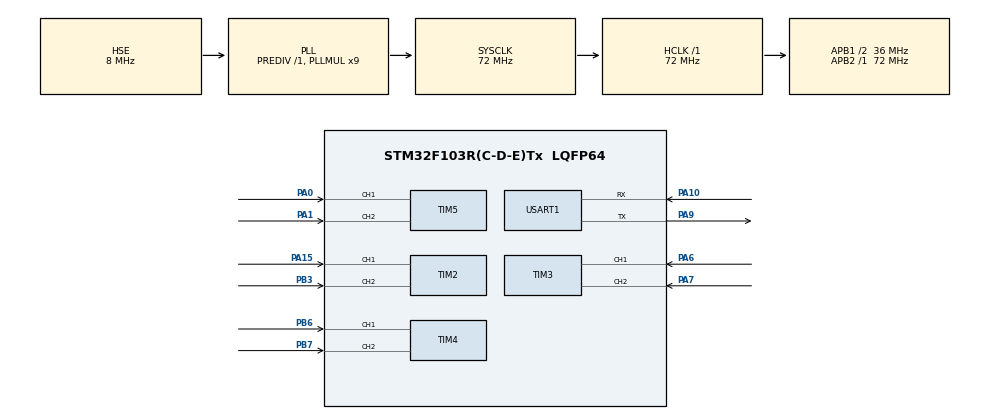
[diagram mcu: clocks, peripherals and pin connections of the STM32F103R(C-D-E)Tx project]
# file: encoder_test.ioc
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Mcu.Family=STM32F1
Mcu.Name=STM32F103R(C-D-E)Tx
Mcu.Package=LQFP64
NVIC.PriorityGroup=NVIC_PRIORITYGROUP_4
NVIC.TIM6_IRQn=true\:0\:0\:false\:false\:true\:true\:true\:true
NVIC.USART1_IRQn=true\:0\:0\:false\:false\:true\:true\:true\:true
PA0-WKUP.Signal=S_TIM5_CH1
PA1.Signal=S_TIM5_CH2
PA10.Mode=Asynchronous
PA10.Signal=USART1_RX
PA13.Mode=Serial_Wire
PA13.Signal=SYS_JTMS-SWDIO
PA14.Mode=Serial_Wire
PA14.Signal=SYS_JTCK-SWCLK
PA15.Signal=S_TIM2_CH1_ETR
PA6.Signal=S_TIM3_CH1
PA7.Signal=S_TIM3_CH2
PA9.Mode=Asynchronous
PA9.Signal=USART1_TX
PB3.Signal=S_TIM2_CH2
PB6.Signal=S_TIM4_CH1
PB7.Signal=S_TIM4_CH2
PD0-OSC_IN.Mode=HSE-External-Oscillator
PD0-OSC_IN.Signal=RCC_OSC_IN
PD1-OSC_OUT.Mode=HSE-External-Oscillator
PD1-OSC_OUT.Signal=RCC_OSC_OUT
ProjectManager.HeapSize=0x200
ProjectManager.StackSize=0x400
ProjectManager.TargetToolchain=STM32CubeIDE
RCC.AHBFreq_Value=72000000
RCC.APB1CLKDivider=RCC_HCLK_DIV2
RCC.APB1Freq_Value=36000000
RCC.APB1TimFreq_Value=72000000
RCC.APB2Freq_Value=72000000
RCC.APB2TimFreq_Value=72000000
RCC.HCLKFreq_Value=72000000
RCC.PLLMUL=RCC_PLL_MUL9
RCC.PLLSourceVirtual=RCC_PLLSOURCE_HSE
RCC.SYSCLKFreq_VALUE=72000000
RCC.SYSCLKSource=RCC_SYSCLKSOURCE_PLLCLK
RCC.USBFreq_Value=72000000
SH.S_TIM2_CH1_ETR.0=TIM2_CH1,Encoder_Interface
SH.S_TIM2_CH2.0=TIM2_CH2,Encoder_Interface
SH.S_TIM3_CH1.0=TIM3_CH1,Encoder_Interface
SH.S_TIM3_CH2.0=TIM3_CH2,Encoder_Interface
SH.S_TIM4_CH1.0=TIM4_CH1,Encoder_Interface
SH.S_TIM4_CH2.0=TIM4_CH2,Encoder_Interface
SH.S_TIM5_CH1.0=TIM5_CH1,Encoder_Interface
SH.S_TIM5_CH2.0=TIM5_CH2,Encoder_Interface
TIM2.EncoderMode=TIM_ENCODERMODE_TI12
TIM3.EncoderMode=TIM_ENCODERMODE_TI12
TIM4.EncoderMode=TIM_ENCODERMODE_TI12
TIM5.EncoderMode=TIM_ENCODERMODE_TI12
TIM6.Period=10000-1
TIM6.Prescaler=7200-1
USART1.VirtualMode=VM_ASYNC
VP_TIM6_VS_ClockSourceINT.Mode=Enable_Timer
board=custom

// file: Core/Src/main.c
/* USER CODE BEGIN Header */
/**
  ******************************************************************************
  * @file           : main.c
  * @brief          : Main program body
  ******************************************************************************
  * @attention
  *
  * Copyright (c) 2023 STMicroelectronics.
  * All rights reserved.
  *
  * This software is licensed under terms that can be found in the LICENSE file
  * in the root directory of this software component.
  * If no LICENSE file comes with this software, it is provided AS-IS.
  *
  ******************************************************************************
  */

/* USER CODE END Header */
#include "main.h"

/* USER CODE BEGIN Includes */
#include "stdint.h"
#include "stdio.h"
#include "motor_encoder.h"
/* USER CODE END Includes */

TIM_HandleTypeDef htim2;
TIM_HandleTypeDef htim3;
TIM_HandleTypeDef htim4;
TIM_HandleTypeDef htim5;
TIM_HandleTypeDef htim6;

UART_HandleTypeDef huart1;

/* USER CODE BEGIN PV */

encoder_instance enc_instance_A;
encoder_instance enc_instance_B;
encoder_instance enc_instance_C;
encoder_instance enc_instance_D;

/* USER CODE END PV */

void SystemClock_Config(void);
static void MX_GPIO_Init(void);
static void MX_TIM2_Init(void);
static void MX_TIM3_Init(void);
static void MX_TIM4_Init(void);
static void MX_TIM5_Init(void);
static void MX_TIM6_Init(void);
static void MX_USART1_UART_Init(void);

/* USER CODE BEGIN 0 */
//uint16_t counterA = 0;
//uint16_t counterB = 0;
//uint16_t counterC = 0;
//uint16_t counterD = 0;
//
//uint16_t directionA = 0;
//uint16_t directionB = 0;
//uint16_t directionC = 0;
//uint16_t directionD = 0;
//
//int16_t countA = 0;
//int16_t countB = 0;
//int16_t countC = 0;
//int16_t countD = 0;

int16_t encoder_velocity_A = 0;
int32_t encoder_position_A = 0;
int16_t encoder_velocity_B = 0;
int32_t encoder_position_B = 0;
int16_t encoder_velocity_C = 0;
int32_t encoder_position_C = 0;
int16_t encoder_velocity_D = 0;
int32_t encoder_position_D = 0;

void HAL_TIM_PeriodElapsedCallback(TIM_HandleTypeDef *htim)
{
	if (htim->Instance == TIM6)
	{
		update_encoder(&enc_instance_A, &htim2);
		update_encoder(&enc_instance_B, &htim3);
		update_encoder(&enc_instance_C, &htim4);
		update_encoder(&enc_instance_D, &htim5);
		encoder_position_A = enc_instance_A.position;
		encoder_velocity_A = enc_instance_A.velocity;
		encoder_position_B = enc_instance_B.position;
		encoder_velocity_B = enc_instance_B.velocity;
		encoder_position_C = enc_instance_C.position;
		encoder_velocity_C = enc_instance_C.velocity;
		encoder_position_D = enc_instance_D.position;
		encoder_velocity_D = enc_instance_D.velocity;

	}
}

//void HAL_TIM_PeriodElapsedCallback(TIM_HandleTypeDef *htim)
//{
//	if (htim->Instance == TIM6){
//
//		counterA = __HAL_TIM_GET_COUNTER(&htim2);
//		counterB = __HAL_TIM_GET_COUNTER(&htim3);
//		counterC = __HAL_TIM_GET_COUNTER(&htim4);
//		counterD = __HAL_TIM_GET_COUNTER(&htim5);
//
//		countA = (int16_t)counterA;
//		countB = (int16_t)counterB;
//		countC = (int16_t)counterC;
//		countD = (int16_t)counterD;
//
//		directionA = __HAL_TIM_IS_TIM_COUNTING_DOWN(&htim2);
//		directionB = __HAL_TIM_IS_TIM_COUNTING_DOWN(&htim3);
//		directionC = __HAL_TIM_IS_TIM_COUNTING_DOWN(&htim4);
//		directionD = __HAL_TIM_IS_TIM_COUNTING_DOWN(&htim5);
//	}
////	count = (short)counter;
////	update_encoder(&enc_instance, &htim4);
////	encoder_position = enc_instance.position;
////	encoder_velocity = enc_instance.velocity;
//}

//void HAL_TIM_IC_CaptureCallback
//void HAL_TIM_PeriodElapsedCallback
/* USER CODE END 0 */

int main(void)
{

  /* MCU Configuration--------------------------------------------------------*/

  /* Reset of all peripherals, Initializes the Flash interface and the Systick. */
  HAL_Init();

  /* Configure the system clock */
  SystemClock_Config();

  /* Initialize all configured peripherals */
  MX_GPIO_Init();
  MX_TIM2_Init();
  MX_TIM3_Init();
  MX_TIM4_Init();
  MX_TIM5_Init();
  MX_TIM6_Init();
  MX_USART1_UART_Init();
  /* USER CODE BEGIN 2 */
  reset_encoder(&enc_instance_A);
  reset_encoder(&enc_instance_B);
  reset_encoder(&enc_instance_C);
  reset_encoder(&enc_instance_D);

  HAL_TIM_Encoder_Start_IT(&htim2, TIM_CHANNEL_ALL);
  HAL_TIM_Encoder_Start_IT(&htim3, TIM_CHANNEL_ALL);
  HAL_TIM_Encoder_Start_IT(&htim4, TIM_CHANNEL_ALL);
  HAL_TIM_Encoder_Start_IT(&htim5, TIM_CHANNEL_ALL);

  HAL_TIM_Base_Start_IT(&htim6);
//  __HAL_TIM_CLEAR_IT(&htim6,TIM_IT_UPDATE);
//  __HAL_TIM_ENABLE_IT(&htim6,TIM_IT_UPDATE);
  /* USER CODE END 2 */

  /* Infinite loop */
  while (1)
  {

  }
}

void SystemClock_Config(void)
{
  RCC_OscInitTypeDef RCC_OscInitStruct = {0};
  RCC_ClkInitTypeDef RCC_ClkInitStruct = {0};

  /** Initializes the RCC Oscillators according to the specified parameters
  * in the RCC_OscInitTypeDef structure.
  */
  RCC_OscInitStruct.OscillatorType = RCC_OSCILLATORTYPE_HSE;
  RCC_OscInitStruct.HSEState = RCC_HSE_ON;
  RCC_OscInitStruct.HSEPredivValue = RCC_HSE_PREDIV_DIV1;
  RCC_OscInitStruct.HSIState = RCC_HSI_ON;
  RCC_OscInitStruct.PLL.PLLState = RCC_PLL_ON;
  RCC_OscInitStruct.PLL.PLLSource = RCC_PLLSOURCE_HSE;
  RCC_OscInitStruct.PLL.PLLMUL = RCC_PLL_MUL9;
  if (HAL_RCC_OscConfig(&RCC_OscInitStruct) != HAL_OK)
  {
    Error_Handler();
  }

  /** Initializes the CPU, AHB and APB buses clocks
  */
  RCC_ClkInitStruct.ClockType = RCC_CLOCKTYPE_HCLK|RCC_CLOCKTYPE_SYSCLK
                              |RCC_CLOCKTYPE_PCLK1|RCC_CLOCKTYPE_PCLK2;
  RCC_ClkInitStruct.SYSCLKSource = RCC_SYSCLKSOURCE_PLLCLK;
  RCC_ClkInitStruct.AHBCLKDivider = RCC_SYSCLK_DIV1;
  RCC_ClkInitStruct.APB1CLKDivider = RCC_HCLK_DIV2;
  RCC_ClkInitStruct.APB2CLKDivider = RCC_HCLK_DIV1;

  if (HAL_RCC_ClockConfig(&RCC_ClkInitStruct, FLASH_LATENCY_2) != HAL_OK)
  {
    Error_Handler();
  }
}

static void MX_TIM2_Init(void)
{

  TIM_Encoder_InitTypeDef sConfig = {0};
  TIM_MasterConfigTypeDef sMasterConfig = {0};

  htim2.Instance = TIM2;
  htim2.Init.Prescaler = 0;
  htim2.Init.CounterMode = TIM_COUNTERMODE_UP;
  htim2.Init.Period = 65535;
  htim2.Init.ClockDivision = TIM_CLOCKDIVISION_DIV1;
  htim2.Init.AutoReloadPreload = TIM_AUTORELOAD_PRELOAD_DISABLE;
  sConfig.EncoderMode = TIM_ENCODERMODE_TI12;
  sConfig.IC1Polarity = TIM_ICPOLARITY_RISING;
  sConfig.IC1Selection = TIM_ICSELECTION_DIRECTTI;
  sConfig.IC1Prescaler = TIM_ICPSC_DIV1;
  sConfig.IC1Filter = 0;
  sConfig.IC2Polarity = TIM_ICPOLARITY_RISING;
  sConfig.IC2Selection = TIM_ICSELECTION_DIRECTTI;
  sConfig.IC2Prescaler = TIM_ICPSC_DIV1;
  sConfig.IC2Filter = 0;
  if (HAL_TIM_Encoder_Init(&htim2, &sConfig) != HAL_OK)
  {
    Error_Handler();
  }
  sMasterConfig.MasterOutputTrigger = TIM_TRGO_RESET;
  sMasterConfig.MasterSlaveMode = TIM_MASTERSLAVEMODE_DISABLE;
  if (HAL_TIMEx_MasterConfigSynchronization(&htim2, &sMasterConfig) != HAL_OK)
  {
    Error_Handler();
  }

}

static void MX_TIM3_Init(void)
{

  TIM_Encoder_InitTypeDef sConfig = {0};
  TIM_MasterConfigTypeDef sMasterConfig = {0};

  htim3.Instance = TIM3;
  htim3.Init.Prescaler = 0;
  htim3.Init.CounterMode = TIM_COUNTERMODE_UP;
  htim3.Init.Period = 65535;
  htim3.Init.ClockDivision = TIM_CLOCKDIVISION_DIV1;
  htim3.Init.AutoReloadPreload = TIM_AUTORELOAD_PRELOAD_DISABLE;
  sConfig.EncoderMode = TIM_ENCODERMODE_TI12;
  sConfig.IC1Polarity = TIM_ICPOLARITY_RISING;
  sConfig.IC1Selection = TIM_ICSELECTION_DIRECTTI;
  sConfig.IC1Prescaler = TIM_ICPSC_DIV1;
  sConfig.IC1Filter = 0;
  sConfig.IC2Polarity = TIM_ICPOLARITY_RISING;
  sConfig.IC2Selection = TIM_ICSELECTION_DIRECTTI;
  sConfig.IC2Prescaler = TIM_ICPSC_DIV1;
  sConfig.IC2Filter = 0;
  if (HAL_TIM_Encoder_Init(&htim3, &sConfig) != HAL_OK)
  {
    Error_Handler();
  }
  sMasterConfig.MasterOutputTrigger = TIM_TRGO_RESET;
  sMasterConfig.MasterSlaveMode = TIM_MASTERSLAVEMODE_DISABLE;
  if (HAL_TIMEx_MasterConfigSynchronization(&htim3, &sMasterConfig) != HAL_OK)
  {
    Error_Handler();
  }

}

static void MX_TIM4_Init(void)
{

  TIM_Encoder_InitTypeDef sConfig = {0};
  TIM_MasterConfigTypeDef sMasterConfig = {0};

  htim4.Instance = TIM4;
  htim4.Init.Prescaler = 0;
  htim4.Init.CounterMode = TIM_COUNTERMODE_UP;
  htim4.Init.Period = 65535;
  htim4.Init.ClockDivision = TIM_CLOCKDIVISION_DIV1;
  htim4.Init.AutoReloadPreload = TIM_AUTORELOAD_PRELOAD_DISABLE;
  sConfig.EncoderMode = TIM_ENCODERMODE_TI12;
  sConfig.IC1Polarity = TIM_ICPOLARITY_RISING;
  sConfig.IC1Selection = TIM_ICSELECTION_DIRECTTI;
  sConfig.IC1Prescaler = TIM_ICPSC_DIV1;
  sConfig.IC1Filter = 0;
  sConfig.IC2Polarity = TIM_ICPOLARITY_RISING;
  sConfig.IC2Selection = TIM_ICSELECTION_DIRECTTI;
  sConfig.IC2Prescaler = TIM_ICPSC_DIV1;
  sConfig.IC2Filter = 0;
  if (HAL_TIM_Encoder_Init(&htim4, &sConfig) != HAL_OK)
  {
    Error_Handler();
  }
  sMasterConfig.MasterOutputTrigger = TIM_TRGO_RESET;
  sMasterConfig.MasterSlaveMode = TIM_MASTERSLAVEMODE_DISABLE;
  if (HAL_TIMEx_MasterConfigSynchronization(&htim4, &sMasterConfig) != HAL_OK)
  {
    Error_Handler();
  }

}

static void MX_TIM5_Init(void)
{

  TIM_Encoder_InitTypeDef sConfig = {0};
  TIM_MasterConfigTypeDef sMasterConfig = {0};

  htim5.Instance = TIM5;
  htim5.Init.Prescaler = 0;
  htim5.Init.CounterMode = TIM_COUNTERMODE_UP;
  htim5.Init.Period = 65535;
  htim5.Init.ClockDivision = TIM_CLOCKDIVISION_DIV1;
  htim5.Init.AutoReloadPreload = TIM_AUTORELOAD_PRELOAD_DISABLE;
  sConfig.EncoderMode = TIM_ENCODERMODE_TI12;
  sConfig.IC1Polarity = TIM_ICPOLARITY_RISING;
  sConfig.IC1Selection = TIM_ICSELECTION_DIRECTTI;
  sConfig.IC1Prescaler = TIM_ICPSC_DIV1;
  sConfig.IC1Filter = 0;
  sConfig.IC2Polarity = TIM_ICPOLARITY_RISING;
  sConfig.IC2Selection = TIM_ICSELECTION_DIRECTTI;
  sConfig.IC2Prescaler = TIM_ICPSC_DIV1;
  sConfig.IC2Filter = 0;
  if (HAL_TIM_Encoder_Init(&htim5, &sConfig) != HAL_OK)
  {
    Error_Handler();
  }
  sMasterConfig.MasterOutputTrigger = TIM_TRGO_RESET;
  sMasterConfig.MasterSlaveMode = TIM_MASTERSLAVEMODE_DISABLE;
  if (HAL_TIMEx_MasterConfigSynchronization(&htim5, &sMasterConfig) != HAL_OK)
  {
    Error_Handler();
  }

}

static void MX_TIM6_Init(void)
{

  TIM_MasterConfigTypeDef sMasterConfig = {0};

  htim6.Instance = TIM6;
  htim6.Init.Prescaler = 7200-1;
  htim6.Init.CounterMode = TIM_COUNTERMODE_UP;
  htim6.Init.Period = 10000-1;
  htim6.Init.AutoReloadPreload = TIM_AUTORELOAD_PRELOAD_DISABLE;
  if (HAL_TIM_Base_Init(&htim6) != HAL_OK)
  {
    Error_Handler();
  }
  sMasterConfig.MasterOutputTrigger = TIM_TRGO_RESET;
  sMasterConfig.MasterSlaveMode = TIM_MASTERSLAVEMODE_DISABLE;
  if (HAL_TIMEx_MasterConfigSynchronization(&htim6, &sMasterConfig) != HAL_OK)
  {
    Error_Handler();
  }

}

static void MX_USART1_UART_Init(void)
{

  huart1.Instance = USART1;
  huart1.Init.BaudRate = 115200;
  huart1.Init.WordLength = UART_WORDLENGTH_8B;
  huart1.Init.StopBits = UART_STOPBITS_1;
  huart1.Init.Parity = UART_PARITY_NONE;
  huart1.Init.Mode = UART_MODE_TX_RX;
  huart1.Init.HwFlowCtl = UART_HWCONTROL_NONE;
  huart1.Init.OverSampling = UART_OVERSAMPLING_16;
  if (HAL_UART_Init(&huart1) != HAL_OK)
  {
    Error_Handler();
  }

}

static void MX_GPIO_Init(void)
{

  /* GPIO Ports Clock Enable */
  __HAL_RCC_GPIOD_CLK_ENABLE();
  __HAL_RCC_GPIOA_CLK_ENABLE();
  __HAL_RCC_GPIOB_CLK_ENABLE();

}

void Error_Handler(void)
{
  __disable_irq();
  while (1)
  {
  }
}
